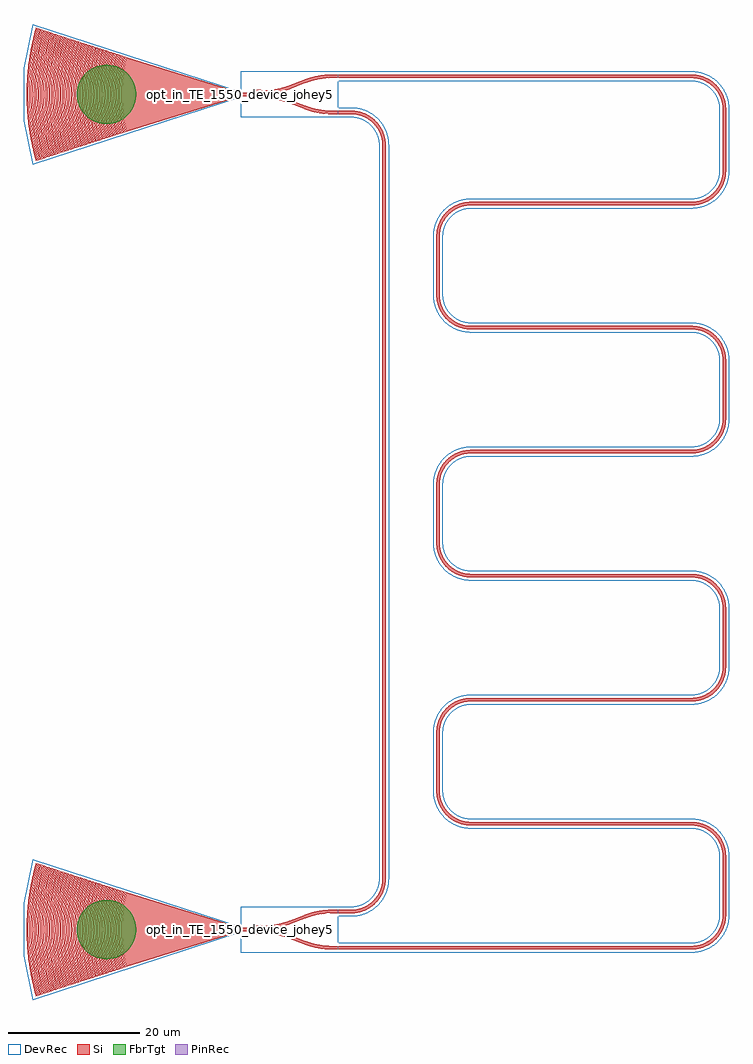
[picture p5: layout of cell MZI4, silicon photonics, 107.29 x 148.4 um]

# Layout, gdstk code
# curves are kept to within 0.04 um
import gdstk
lib = gdstk.Library(unit=1e-6, precision=1e-09)
def R(c, l, rs):  # rectangles x0, y0, x1, y1
    for r in rs: c.add(gdstk.rectangle(r[:2], r[2:], *l))
def P(c, l, *ps):  # polygons
    for p in ps: c.add(gdstk.Polygon(p, *l))
Si = (1, 0)
PinRec = (1, 10)
DevRec = (68, 0)
FbrTgt = (81, 0)

te1550_subgc_neg31_oxide = lib.new_cell('TE1550_SubGC_neg31_oxide')
P(te1550_subgc_neg31_oxide, Si, [(-17.556,-5.704),(-17.743,-4.914),(-17.881,-4.233),(-18.016,-3.437),(-18.095,-2.866),(-18.165,-2.237),(-18.222,-1.549),(-18.256,-0.918),(-18.274,-0.115),(-18.264,0.689),(-18.233,1.377),(-18.176,2.122),(-18.095,2.866),(-18.016,3.437),(-17.881,4.233),(-17.743,4.914),(-17.556,5.704),(-17.481,5.68),(-17.643,5.006),(-17.784,4.329),(-17.922,3.536),(-18.032,2.74),(-18.104,2.056),(-18.148,1.486),(-18.186,0.686),(-18.196,0.114),(-18.189,-0.572),(-18.165,-1.2),(-18.123,-1.828),(-18.058,-2.512),(-17.948,-3.365),(-17.826,-4.102),(-17.668,-4.893),(-17.481,-5.68)],
  [(-17.906,-5.818),(-18.207,-4.492),(-18.452,-2.982),(-18.601,-1.405),(-18.643,-0.117),(-18.601,1.405),(-18.452,2.982),(-18.207,4.492),(-17.906,5.818),(-17.659,5.738),(-17.932,4.544),(-18.188,2.998),(-18.338,1.443),(-18.383,0.116),(-18.338,-1.443),(-18.188,-2.998),(-17.932,-4.544),(-17.659,-5.738)],
  [(-18.084,-5.876),(-18.24,-5.237),(-18.4,-4.479),(-18.525,-3.776),(-18.629,-3.071),(-18.717,-2.305),(-18.772,-1.656),(-18.811,-0.946),(-18.83,-0.118),(-18.823,0.592),(-18.791,1.36),(-18.739,2.069),(-18.644,2.953),(-18.544,3.658),(-18.4,4.479),(-18.24,5.237),(-18.084,5.876),(-18.01,5.852),(-18.204,5.041),(-18.368,4.227),(-18.503,3.409),(-18.609,2.589),(-18.713,1.354),(-18.745,0.589),(-18.752,0.118),(-18.745,-0.589),(-18.713,-1.354),(-18.609,-2.589),(-18.503,-3.409),(-18.368,-4.227),(-18.204,-5.041),(-18.01,-5.852)],
  [(-18.435,-5.99),(-18.77,-4.506),(-19.001,-3.071),(-19.135,-1.748),(-19.199,-0.121),(-19.159,1.387),(-19.001,3.071),(-18.77,4.506),(-18.435,5.99),(-18.188,5.91),(-18.517,4.445),(-18.744,3.029),(-18.896,1.427),(-18.939,0.119),(-18.896,-1.427),(-18.759,-2.911),(-18.517,-4.445),(-18.188,-5.91)],
  [(-18.613,-6.048),(-18.815,-5.211),(-18.963,-4.49),(-19.099,-3.705),(-19.201,-2.979),(-19.269,-2.373),(-19.338,-1.522),(-19.369,-0.913),(-19.386,-0.122),(-19.377,0.67),(-19.349,1.339),(-19.286,2.191),(-19.201,2.979),(-19.099,3.705),(-18.963,4.49),(-18.815,5.211),(-18.613,6.048),(-18.539,6.024),(-18.713,5.309),(-18.876,4.532),(-19.013,3.751),(-19.131,2.907),(-19.203,2.242),(-19.264,1.455),(-19.291,0.91),(-19.308,0.121),(-19.299,-0.667),(-19.271,-1.334),(-19.239,-1.819),(-19.166,-2.605),(-19.076,-3.329),(-18.91,-4.352),(-18.753,-5.13),(-18.539,-6.024)],
  [(-18.964,-6.162),(-19.262,-4.881),(-19.533,-3.283),(-19.689,-1.799),(-19.755,-0.124),(-19.717,1.365),(-19.573,2.974),(-19.334,4.513),(-18.964,6.162),(-18.717,6.081),(-19.046,4.636),(-19.301,3.057),(-19.43,1.775),(-19.495,0.122),(-19.454,-1.408),(-19.301,-3.057),(-19.046,-4.636),(-18.717,-6.081)],
  [(-19.142,-6.22),(-19.337,-5.421),(-19.48,-4.742),(-19.625,-3.936),(-19.726,-3.251),(-19.808,-2.566),(-19.884,-1.691),(-19.924,-0.94),(-19.942,-0.125),(-19.934,0.626),(-19.9,1.44),(-19.833,2.316),(-19.758,3.002),(-19.635,3.874),(-19.516,4.556),(-19.337,5.421),(-19.142,6.22),(-19.068,6.195),(-19.289,5.277),(-19.44,4.538),(-19.587,3.673),(-19.696,2.866),(-19.772,2.12),(-19.822,1.435),(-19.853,0.749),(-19.864,0.125),(-19.853,-0.749),(-19.822,-1.435),(-19.772,-2.12),(-19.696,-2.866),(-19.587,-3.673),(-19.44,-4.538),(-19.289,-5.277),(-19.068,-6.195)],
  [(-19.493,-6.334),(-19.839,-4.829),(-20.107,-3.185),(-20.256,-1.658),(-20.311,-0.128),(-20.268,1.467),(-20.107,3.185),(-19.839,4.829),(-19.493,6.334),(-19.246,6.253),(-19.574,4.829),(-19.842,3.207),(-19.997,1.637),(-20.051,0.126),(-20.005,-1.511),(-19.866,-3.019),(-19.622,-4.581),(-19.246,-6.253)],
  [(-19.671,-6.391),(-19.843,-5.697),(-20.008,-4.937),(-20.149,-4.173),(-20.283,-3.278),(-20.379,-2.444),(-20.438,-1.738),(-20.482,-0.901),(-20.498,-0.129),(-20.482,0.901),(-20.438,1.738),(-20.379,2.444),(-20.283,3.278),(-20.149,4.173),(-20.008,4.937),(-19.843,5.697),(-19.671,6.391),(-19.597,6.367),(-19.797,5.55),(-20.005,4.538),(-20.153,3.648),(-20.246,2.946),(-20.325,2.179),(-20.373,1.539),(-20.404,0.898),(-20.42,0.128),(-20.412,-0.641),(-20.384,-1.347),(-20.336,-2.051),(-20.261,-2.819),(-20.153,-3.648),(-20.017,-4.474),(-19.825,-5.424),(-19.597,-6.367)],
  [(-20.022,-6.505),(-20.392,-4.896),(-20.656,-3.272),(-20.81,-1.704),(-20.867,-0.131),(-20.81,1.704),(-20.656,3.272),(-20.392,4.896),(-20.022,6.505),(-19.774,6.425),(-20.139,4.835),(-20.382,3.36),(-20.542,1.812),(-20.607,0.129),(-20.567,-1.424),(-20.399,-3.231),(-20.139,-4.835),(-19.774,-6.425)],
  [(-20.199,-6.563),(-20.437,-5.591),(-20.599,-4.809),(-20.726,-4.089),(-20.832,-3.367),(-20.931,-2.511),(-20.992,-1.785),(-21.04,-0.86),(-21.054,-0.132),(-21.044,0.728),(-21.001,1.653),(-20.931,2.511),(-20.849,3.235),(-20.726,4.089),(-20.599,4.809),(-20.437,5.591),(-20.199,6.563),(-20.125,6.539),(-20.347,5.635),(-20.523,4.791),(-20.67,3.943),(-20.804,2.961),(-20.878,2.239),(-20.923,1.647),(-20.962,0.857),(-20.976,0.132),(-20.966,-0.725),(-20.935,-1.449),(-20.878,-2.239),(-20.804,-2.961),(-20.67,-3.943),(-20.523,-4.791),(-20.347,-5.635),(-20.125,-6.539)],
  [(-20.55,-6.677),(-20.906,-5.158),(-21.205,-3.359),(-21.355,-1.883),(-21.423,-0.135),(-21.373,1.615),(-21.205,3.359),(-20.906,5.158),(-20.55,6.677),(-20.303,6.597),(-20.705,4.833),(-20.957,3.252),(-21.105,1.728),(-21.163,0.133),(-21.105,-1.728),(-20.957,-3.252),(-20.705,-4.833),(-20.303,-6.597)],
  [(-20.728,-6.735),(-20.912,-6.004),(-21.101,-5.136),(-21.249,-4.331),(-21.372,-3.523),(-21.483,-2.577),(-21.546,-1.832),(-21.593,-0.95),(-21.61,-0.136),(-21.593,0.95),(-21.555,1.696),(-21.483,2.577),(-21.39,3.388),(-21.249,4.331),(-21.101,5.136),(-20.912,6.004),(-20.728,6.735),(-20.654,6.711),(-20.868,5.85),(-21.025,5.118),(-21.195,4.181),(-21.33,3.241),(-21.412,2.5),(-21.473,1.758),(-21.515,0.947),(-21.532,0.135),(-21.525,-0.609),(-21.497,-1.352),(-21.448,-2.095),(-21.37,-2.904),(-21.237,-3.913),(-21.077,-4.85),(-20.868,-5.85),(-20.654,-6.711)],
  [(-21.079,-6.849),(-21.432,-5.359),(-21.736,-3.583),(-21.923,-1.725),(-21.979,-0.138),(-21.923,1.725),(-21.772,3.308),(-21.473,5.155),(-21.079,6.849),(-20.832,6.769),(-21.207,5.162),(-21.47,3.608),(-21.664,1.705),(-21.719,0.136),(-21.664,-1.705),(-21.515,-3.269),(-21.207,-5.162),(-20.832,-6.769)],
  [(-21.257,-6.907),(-21.494,-5.953),(-21.655,-5.199),(-21.817,-4.304),(-21.93,-3.544),(-22.042,-2.574),(-22.105,-1.81),(-22.146,-1.044),(-22.166,-0.139),(-22.159,0.627),(-22.114,1.67),(-22.042,2.574),(-21.957,3.336),(-21.817,4.304),(-21.655,5.199),(-21.494,5.953),(-21.257,6.907),(-21.183,6.883),(-21.419,5.932),(-21.606,5.044),(-21.773,4.083),(-21.888,3.256),(-21.971,2.495),(-22.036,1.665),(-22.073,0.902),(-22.088,0.139),(-22.081,-0.624),(-22.052,-1.387),(-22.001,-2.149),(-21.905,-3.117),(-21.773,-4.083),(-21.606,-5.044),(-21.419,-5.932),(-21.183,-6.883)],
  [(-21.608,-7.021),(-21.985,-5.425),(-22.294,-3.603),(-22.482,-1.698),(-22.535,-0.142),(-22.482,1.698),(-22.294,3.603),(-21.985,5.425),(-21.608,7.021),(-21.361,6.941),(-21.761,5.224),(-22.028,3.631),(-22.218,1.749),(-22.275,0.14),(-22.227,-1.609),(-22.073,-3.283),(-21.788,-5.086),(-21.361,-6.941)],
  [(-21.786,-7.079),(-21.964,-6.381),(-22.167,-5.469),(-22.302,-4.765),(-22.469,-3.704),(-22.565,-2.923),(-22.649,-1.997),(-22.704,-0.999),(-22.722,-0.143),(-22.713,0.714),(-22.677,1.57),(-22.601,2.567),(-22.488,3.562),(-22.374,4.341),(-22.195,5.329),(-22.03,6.101),(-21.786,7.079),(-21.712,7.055),(-21.922,6.22),(-22.161,5.1),(-22.308,4.256),(-22.447,3.267),(-22.53,2.487),(-22.586,1.778),(-22.626,0.996),(-22.644,0.142),(-22.635,-0.711),(-22.595,-1.635),(-22.53,-2.487),(-22.447,-3.267),(-22.308,-4.256),(-22.161,-5.1),(-21.922,-6.22),(-21.712,-7.055)],
  [(-22.137,-7.193),(-22.54,-5.486),(-22.843,-3.692),(-23.011,-2.102),(-23.091,-0.145),(-23.045,1.595),(-22.862,3.547),(-22.54,5.486),(-22.137,7.193),(-21.89,7.112),(-22.287,5.425),(-22.596,3.579),(-22.777,1.721),(-22.831,0.143),(-22.777,-1.721),(-22.596,-3.579),(-22.287,-5.425),(-21.89,-7.112)],
  [(-22.315,-7.25),(-22.549,-6.321),(-22.736,-5.458),(-22.895,-4.592),(-23.047,-3.576),(-23.139,-2.776),(-23.218,-1.827),(-23.262,-0.951),(-23.278,-0.146),(-23.262,0.951),(-23.218,1.827),(-23.139,2.776),(-23.047,3.576),(-22.895,4.592),(-22.736,5.458),(-22.549,6.321),(-22.315,7.25),(-22.24,7.226),(-22.457,6.372),(-22.646,5.512),(-22.843,4.432),(-22.979,3.492),(-23.076,2.621),(-23.145,1.748),(-23.184,0.947),(-23.2,0.146),(-23.194,-0.583),(-23.158,-1.53),(-23.102,-2.33),(-23.006,-3.274),(-22.899,-4.071),(-22.73,-5.081),(-22.507,-6.157),(-22.24,-7.226)],
  [(-22.666,-7.364),(-23.095,-5.545),(-23.392,-3.78),(-23.581,-1.93),(-23.647,-0.149),(-23.586,1.856),(-23.421,3.559),(-23.095,5.545),(-22.666,7.364),(-22.418,7.284),(-22.842,5.484),(-23.145,3.666),(-23.311,2.056),(-23.387,0.147),(-23.336,-1.689),(-23.145,-3.666),(-22.842,-5.484),(-22.418,-7.284)],
  [(-22.843,-7.422),(-23.067,-6.545),(-23.262,-5.662),(-23.441,-4.701),(-23.556,-3.959),(-23.691,-2.842),(-23.762,-2.02),(-23.815,-1.048),(-23.834,-0.15),(-23.82,0.898),(-23.782,1.721),(-23.713,2.618),(-23.606,3.587),(-23.441,4.701),(-23.277,5.588),(-23.067,6.545),(-22.843,7.422),(-22.769,7.398),(-22.992,6.523),(-23.201,5.57),(-23.389,4.538),(-23.538,3.501),(-23.642,2.535),(-23.704,1.716),(-23.742,0.895),(-23.756,0.149),(-23.742,-0.895),(-23.704,-1.716),(-23.642,-2.535),(-23.565,-3.278),(-23.401,-4.464),(-23.23,-5.423),(-22.992,-6.523),(-22.769,-7.398)],
  [(-23.194,-7.536),(-23.605,-5.824),(-23.951,-3.793),(-24.135,-1.976),(-24.203,-0.152),(-24.15,1.748),(-23.961,3.718),(-23.605,5.824),(-23.194,7.536),(-22.947,7.456),(-23.368,5.688),(-23.684,3.827),(-23.876,1.955),(-23.943,0.15),(-23.886,-1.804),(-23.704,-3.678),(-23.383,-5.614),(-22.947,-7.456)],
  [(-23.372,-7.594),(-23.602,-6.696),(-23.802,-5.793),(-23.96,-4.962),(-24.115,-3.975),(-24.219,-3.137),(-24.316,-2.067),(-24.373,-0.996),(-24.39,-0.153),(-24.373,0.996),(-24.316,2.067),(-24.219,3.137),(-24.115,3.975),(-23.96,4.962),(-23.802,5.793),(-23.602,6.696),(-23.372,7.594),(-23.298,7.57),(-23.562,6.525),(-23.801,5.399),(-23.971,4.417),(-24.088,3.583),(-24.188,2.67),(-24.249,1.908),(-24.295,0.993),(-24.312,0.153),(-24.3,-0.84),(-24.263,-1.68),(-24.195,-2.594),(-24.088,-3.583),(-23.971,-4.417),(-23.801,-5.399),(-23.562,-6.525),(-23.298,-7.57)],
  [(-23.723,-7.708),(-24.145,-5.957),(-24.479,-4.035),(-24.678,-2.176),(-24.759,-0.156),(-24.709,1.71),(-24.5,3.88),(-24.145,5.957),(-23.723,7.708),(-23.476,7.628),(-23.908,5.819),(-24.233,3.916),(-24.43,2),(-24.499,0.154),(-24.43,-2),(-24.233,-3.916),(-23.908,-5.819),(-23.476,-7.628)],
  [(-23.901,-7.766),(-24.137,-6.848),(-24.358,-5.848),(-24.518,-4.997),(-24.674,-3.987),(-24.779,-3.13),(-24.87,-2.115),(-24.916,-1.332),(-24.946,-0.157),(-24.931,0.94),(-24.891,1.802),(-24.803,2.896),(-24.695,3.832),(-24.531,4.92),(-24.358,5.848),(-24.137,6.848),(-23.901,7.766),(-23.827,7.742),(-24.098,6.674),(-24.313,5.676),(-24.493,4.672),(-24.638,3.665),(-24.733,2.809),(-24.803,1.952),(-24.848,1.094),(-24.868,0.156),(-24.858,-0.781),(-24.818,-1.718),(-24.733,-2.809),(-24.638,-3.665),(-24.493,-4.672),(-24.313,-5.676),(-24.098,-6.674),(-23.827,-7.742)],
  [(-24.252,-7.88),(-24.717,-5.934),(-25.049,-3.967),(-25.232,-2.225),(-25.315,-0.159),(-25.259,1.828),(-25.07,3.809),(-24.717,5.934),(-24.252,7.88),(-24.005,7.8),(-24.464,5.873),(-24.782,4.005),(-24.973,2.202),(-25.055,0.157),(-25.009,-1.652),(-24.803,-3.848),(-24.464,-5.873),(-24.005,-7.8)],
  [(-24.43,-7.938),(-24.709,-6.843),(-24.866,-6.135),(-25.049,-5.187),(-25.234,-3.997),(-25.339,-3.12),(-25.424,-2.162),(-25.478,-1.202),(-25.502,-0.16),(-25.489,0.881),(-25.435,2.002),(-25.339,3.12),(-25.234,3.997),(-25.049,5.187),(-24.866,6.135),(-24.709,6.843),(-24.43,7.938),(-24.356,7.914),(-24.634,6.822),(-24.839,5.881),(-25,5.014),(-25.178,3.826),(-25.278,2.952),(-25.352,2.075),(-25.397,1.278),(-25.424,0.16),(-25.409,-0.958),(-25.377,-1.677),(-25.293,-2.792),(-25.198,-3.667),(-25.052,-4.697),(-24.839,-5.881),(-24.634,-6.822),(-24.356,-7.914)],
  [(-24.781,-8.052),(-25.241,-6.144),(-25.576,-4.216),(-25.803,-2.031),(-25.871,-0.163),(-25.803,2.031),(-25.609,3.974),(-25.274,5.984),(-24.781,8.052),(-24.533,7.971),(-24.972,6.161),(-25.308,4.253),(-25.544,2.01),(-25.611,0.161),(-25.544,-2.01),(-25.352,-3.934),(-25.021,-5.924),(-24.533,-7.971)],
  [(-24.959,-8.11),(-25.187,-7.232),(-25.423,-6.188),(-25.635,-5.057),(-25.772,-4.165),(-25.891,-3.188),(-25.984,-2.127),(-26.03,-1.31),(-26.058,-0.164),(-26.045,0.9),(-25.995,1.964),(-25.891,3.188),(-25.794,4.002),(-25.635,5.057),(-25.423,6.188),(-25.187,7.232),(-24.959,8.11),(-24.884,8.085),(-25.15,7.051),(-25.38,6.009),(-25.572,4.961),(-25.738,3.828),(-25.846,2.853),(-25.917,1.958),(-25.967,0.898),(-25.98,0.163),(-25.967,-0.898),(-25.932,-1.713),(-25.868,-2.609),(-25.768,-3.585),(-25.624,-4.638),(-25.412,-5.848),(-25.207,-6.811),(-24.884,-8.085)],
  [(-25.31,-8.224),(-25.815,-6.112),(-26.136,-4.224),(-26.357,-2.074),(-26.427,-0.166),(-26.368,1.909),(-26.18,3.894),(-25.815,6.112),(-25.31,8.224),(-25.062,8.143),(-25.512,6.295),(-25.868,4.264),(-26.098,2.054),(-26.167,0.164),(-26.123,-1.644),(-25.923,-3.856),(-25.562,-6.052),(-25.062,-8.143)],
  [(-25.487,-8.281),(-25.761,-7.222),(-25.946,-6.402),(-26.152,-5.33),(-26.321,-4.254),(-26.451,-3.173),(-26.532,-2.256),(-26.589,-1.254),(-26.614,-0.167),(-26.598,1.003),(-26.538,2.172),(-26.451,3.173),(-26.321,4.254),(-26.152,5.33),(-25.946,6.402),(-25.761,7.222),(-25.487,8.281),(-25.413,8.257),(-25.686,7.201),(-25.921,6.137),(-26.118,5.067),(-26.288,3.91),(-26.374,3.164),(-26.466,2.083),(-26.511,1.25),(-26.536,0.167),(-26.525,-0.834),(-26.482,-1.833),(-26.406,-2.831),(-26.288,-3.91),(-26.118,-5.067),(-25.921,-6.137),(-25.686,-7.201),(-25.413,-8.257)],
  [(-25.838,-8.395),(-26.339,-6.323),(-26.685,-4.312),(-26.887,-2.456),(-26.983,-0.17),(-26.917,2.033),(-26.708,4.144),(-26.356,6.24),(-25.838,8.395),(-25.591,8.315),(-26.086,6.263),(-26.44,4.188),(-26.658,2.014),(-26.723,0.168),(-26.658,-2.014),(-26.44,-4.188),(-26.086,-6.263),(-25.591,-8.315)],
  [(-26.016,-8.453),(-26.256,-7.539),(-26.503,-6.451),(-26.697,-5.441),(-26.858,-4.427),(-26.976,-3.494),(-27.086,-2.303),(-27.144,-1.28),(-27.17,-0.085),(-27.156,0.939),(-27.098,2.133),(-27.012,3.154),(-26.893,4.173),(-26.726,5.272),(-26.538,6.283),(-26.256,7.539),(-26.016,8.453),(-25.942,8.429),(-26.261,7.184),(-26.479,6.181),(-26.664,5.173),(-26.838,3.992),(-26.943,3.06),(-27.026,2.042),(-27.078,0.936),(-27.092,0.085),(-27.078,-0.936),(-27.026,-2.042),(-26.943,-3.06),(-26.838,-3.992),(-26.664,-5.173),(-26.479,-6.181),(-26.261,-7.184),(-25.942,-8.429)],
  [(-26.367,-8.567),(-26.897,-6.368),(-27.246,-4.315),(-27.466,-2.162),(-27.539,-0.087),(-27.466,2.162),(-27.246,4.315),(-26.897,6.368),(-26.367,8.567),(-26.12,8.487),(-26.644,6.308),(-26.989,4.275),(-27.218,1.97),(-27.279,0.086),(-27.218,-1.97),(-26.989,-4.275),(-26.644,-6.308),(-26.12,-8.487)],
  [(-26.545,-8.625),(-26.832,-7.522),(-27.079,-6.411),(-27.286,-5.294),(-27.442,-4.258),(-27.573,-3.132),(-27.658,-2.089),(-27.712,-0.958),(-27.726,-0.087),(-27.712,0.958),(-27.658,2.089),(-27.573,3.132),(-27.442,4.258),(-27.286,5.294),(-27.079,6.411),(-26.832,7.522),(-26.545,8.625),(-26.471,8.601),(-26.777,7.416),(-27.003,6.393),(-27.195,5.365),(-27.365,4.246),(-27.487,3.209),(-27.586,1.997),(-27.634,0.955),(-27.648,0.087),(-27.634,-0.955),(-27.586,-1.997),(-27.52,-2.863),(-27.42,-3.815),(-27.265,-4.935),(-27.071,-6.051),(-26.817,-7.246),(-26.63,-8.01),(-26.471,-8.601)],
  [(-26.896,-8.739),(-27.402,-6.67),(-27.783,-4.49),(-28.014,-2.293),(-28.095,-0.088),(-28.026,2.117),(-27.807,4.315),(-27.438,6.496),(-26.896,8.739),(-26.649,8.659),(-27.185,6.436),(-27.55,4.275),(-27.761,2.185),(-27.835,0.087),(-27.761,-2.185),(-27.55,-4.275),(-27.185,-6.436),(-26.649,-8.659)],
  [(-27.074,-8.797),(-27.346,-7.759),(-27.602,-6.627),(-27.802,-5.576),(-27.955,-4.608),(-28.098,-3.46),(-28.194,-2.397),(-28.255,-1.332),(-28.282,-0.089),(-28.265,1.066),(-28.218,2.042),(-28.134,3.106),(-28.015,4.167),(-27.832,5.4),(-27.62,6.539),(-27.346,7.759),(-27.074,8.797),(-27,8.773),(-27.292,7.651),(-27.544,6.521),(-27.77,5.297),(-27.949,4.067),(-28.048,3.186),(-28.129,2.214),(-28.184,1.152),(-28.204,0.089),(-28.187,-1.063),(-28.146,-1.948),(-28.073,-2.921),(-27.949,-4.067),(-27.77,-5.297),(-27.544,-6.521),(-27.292,-7.651),(-27,-8.773)],
  [(-27.425,-8.911),(-27.979,-6.624),(-28.344,-4.489),(-28.568,-2.339),(-28.651,-0.09),(-28.568,2.339),(-28.344,4.489),(-27.979,6.624),(-27.425,8.911),(-27.177,8.83),(-27.708,6.652),(-28.075,4.537),(-28.309,2.317),(-28.391,0.089),(-28.309,-2.317),(-28.075,-4.537),(-27.708,-6.652),(-27.177,-8.83)],
  [(-27.603,-8.969),(-27.881,-7.91),(-28.124,-6.845),(-28.347,-5.685),(-28.529,-4.518),(-28.678,-3.257),(-28.761,-2.264),(-28.814,-1.268),(-28.838,-0.091),(-28.826,0.906),(-28.761,2.264),(-28.678,3.257),(-28.529,4.518),(-28.347,5.685),(-28.124,6.845),(-27.881,7.91),(-27.603,8.969),(-27.528,8.944),(-27.806,7.889),(-28.085,6.649),(-28.316,5.402),(-28.476,4.327),(-28.582,3.428),(-28.677,2.348),(-28.736,1.265),(-28.76,0.09),(-28.748,-0.903),(-28.695,-2.077),(-28.609,-3.158),(-28.499,-4.147),(-28.331,-5.312),(-28.121,-6.472),(-27.87,-7.624),(-27.528,-8.944)],
  [(-27.953,-9.083),(-28.52,-6.752),(-28.893,-4.576),(-29.135,-2.201),(-29.207,-0.092),(-29.135,2.201),(-28.918,4.394),(-28.52,6.752),(-27.953,9.083),(-27.706,9.002),(-28.23,6.871),(-28.624,4.626),(-28.863,2.363),(-28.947,0.091),(-28.887,-2),(-28.649,-4.445),(-28.23,-6.871),(-27.706,-9.002)],
  [(-28.131,-9.14),(-28.416,-8.062),(-28.645,-7.068),(-28.86,-5.977),(-29.078,-4.605),(-29.221,-3.412),(-29.315,-2.307),(-29.373,-1.2),(-29.394,-0.092),(-29.373,1.2),(-29.315,2.307),(-29.221,3.412),(-29.078,4.605),(-28.86,5.977),(-28.645,7.068),(-28.416,8.062),(-28.131,9.14),(-28.057,9.116),(-28.363,7.951),(-28.663,6.596),(-28.892,5.323),(-29.061,4.136),(-29.179,3.036),(-29.255,2.025),(-29.301,1.013),(-29.316,0.092),(-29.301,-1.013),(-29.255,-2.025),(-29.179,-3.036),(-29.061,-4.136),(-28.892,-5.323),(-28.663,-6.596),(-28.363,-7.951),(-28.057,-9.116)],
  [(-28.482,-9.254),(-29.003,-7.156),(-29.416,-4.849),(-29.683,-2.336),(-29.763,-0.094),(-29.683,2.336),(-29.455,4.57),(-29.042,6.972),(-28.482,9.254),(-28.235,9.174),(-28.77,7.003),(-29.173,4.714),(-29.424,2.316),(-29.503,0.093),(-29.424,-2.316),(-29.173,-4.714),(-28.77,-7.003),(-28.235,-9.174)],
  [(-28.66,-9.312),(-28.928,-8.306),(-29.224,-7.016),(-29.421,-5.996),(-29.601,-4.879),(-29.733,-3.851),(-29.863,-2.445),(-29.925,-1.317),(-29.95,-0.094),(-29.937,0.941),(-29.882,2.163),(-29.792,3.289),(-29.64,4.599),(-29.437,5.904),(-29.224,7.016),(-28.928,8.306),(-28.66,9.312),(-28.586,9.288),(-28.898,8.101),(-29.148,6.998),(-29.393,5.703),(-29.563,4.587),(-29.696,3.467),(-29.798,2.251),(-29.847,1.314),(-29.872,0.094),(-29.862,-0.845),(-29.798,-2.251),(-29.696,-3.467),(-29.563,-4.587),(-29.393,-5.703),(-29.148,-6.998),(-28.898,-8.101),(-28.586,-9.288)],
  [(-29.011,-9.426),(-29.563,-7.196),(-29.965,-4.939),(-30.237,-2.38),(-30.319,-0.095),(-30.25,2.19),(-30.017,4.561),(-29.602,7.008),(-29.011,9.426),(-28.764,9.346),(-29.33,7.041),(-29.735,4.709),(-29.978,2.359),(-30.059,0.094),(-29.978,-2.359),(-29.735,-4.709),(-29.33,-7.041),(-28.764,-9.346)],
  [(-29.189,-9.484),(-29.554,-8.085),(-29.784,-7.052),(-29.999,-5.918),(-30.163,-4.874),(-30.295,-3.827),(-30.417,-2.49),(-30.484,-1.246),(-30.506,-0.096),(-30.484,1.246),(-30.417,2.49),(-30.295,3.827),(-30.163,4.874),(-29.999,5.918),(-29.784,7.052),(-29.554,8.085),(-29.189,9.484),(-29.115,9.46),(-29.456,8.158),(-29.708,7.034),(-29.97,5.62),(-30.125,4.577),(-30.248,3.532),(-30.346,2.388),(-30.406,1.242),(-30.428,0.096),(-30.406,-1.242),(-30.346,-2.388),(-30.248,-3.532),(-30.125,-4.577),(-29.97,-5.62),(-29.708,-7.034),(-29.456,-8.158),(-29.115,-9.46)],
  [(-29.54,-9.598),(-30.143,-7.137),(-30.554,-4.741),(-30.798,-2.327),(-30.875,-0.097),(-30.798,2.327),(-30.554,4.741),(-30.143,7.137),(-29.54,9.598),(-29.293,9.518),(-29.89,7.077),(-30.284,4.796),(-30.539,2.307),(-30.615,0.096),(-30.539,-2.307),(-30.284,-4.796),(-29.89,-7.077),(-29.293,-9.518)],
  [(-29.718,-9.656),(-29.997,-8.613),(-30.285,-7.371),(-30.493,-6.315),(-30.712,-4.963),(-30.857,-3.8),(-30.964,-2.633),(-31.036,-1.366),(-31.062,-0.098),(-31.046,1.073),(-30.991,2.243),(-30.897,3.411),(-30.752,4.673),(-30.561,5.929),(-30.345,7.084),(-30.044,8.422),(-29.718,9.656),(-29.643,9.632),(-29.969,8.401),(-30.269,7.066),(-30.501,5.818),(-30.7,4.468),(-30.829,3.306),(-30.907,2.335),(-30.965,1.168),(-30.984,0.097),(-30.965,-1.168),(-30.907,-2.335),(-30.829,-3.306),(-30.7,-4.468),(-30.501,-5.818),(-30.269,-7.066),(-29.969,-8.401),(-29.643,-9.632)],
  [(-30.069,-9.77),(-30.664,-7.362),(-31.09,-4.924),(-31.346,-2.467),(-31.431,-0.099),(-31.346,2.467),(-31.09,4.924),(-30.664,7.362),(-30.069,9.77),(-29.821,9.69),(-30.411,7.301),(-30.833,4.883),(-31.093,2.349),(-31.171,0.098),(-31.093,-2.349),(-30.833,-4.883),(-30.411,-7.301),(-29.821,-9.69)],
  [(-30.246,-9.828),(-30.603,-8.475),(-30.866,-7.308),(-31.107,-6.035),(-31.288,-4.855),(-31.43,-3.67),(-31.539,-2.382),(-31.595,-1.291),(-31.618,-0.099),(-31.595,1.291),(-31.539,2.382),(-31.43,3.67),(-31.288,4.855),(-31.107,6.035),(-30.866,7.308),(-30.603,8.475),(-30.246,9.828),(-30.172,9.804),(-30.528,8.455),(-30.77,7.387),(-30.907,6.705),(-31.047,5.922),(-31.211,4.843),(-31.342,3.759),(-31.461,2.377),(-31.517,1.288),(-31.54,0.099),(-31.529,-0.892),(-31.474,-2.179),(-31.391,-3.266),(-31.25,-4.548),(-31.047,-5.922),(-30.83,-7.095),(-30.528,-8.455),(-30.172,-9.804)],
  [(-30.597,-9.942),(-31.225,-7.393),(-31.625,-5.111),(-31.893,-2.611),(-31.987,-0.1),(-31.907,2.41),(-31.653,4.911),(-31.225,7.393),(-30.597,9.942),(-30.35,9.861),(-30.931,7.529),(-31.396,4.872),(-31.641,2.49),(-31.727,0.1),(-31.641,-2.49),(-31.396,-4.872),(-30.931,-7.529),(-30.35,-9.861)],
  [(-30.775,-9.999),(-31.09,-8.821),(-31.344,-7.734),(-31.564,-6.64),(-31.795,-5.241),(-31.95,-4.036),(-32.072,-2.727),(-32.129,-1.819),(-32.154,-1.213),(-32.174,-0.101),(-32.154,1.213),(-32.1,2.323),(-32.012,3.432),(-31.851,4.84),(-31.686,5.941),(-31.428,7.337),(-31.139,8.624),(-30.775,9.999),(-30.701,9.975),(-31.015,8.8),(-31.18,8.11),(-31.352,7.319),(-31.593,6.027),(-31.774,4.828),(-31.915,3.625),(-32.009,2.519),(-32.069,1.411),(-32.096,0.101),(-32.076,-1.21),(-32.009,-2.519),(-31.915,-3.625),(-31.774,-4.828),(-31.593,-6.027),(-31.352,-7.319),(-31.18,-8.11),(-31.015,-8.8),(-30.701,-9.975)],
  [(-31.126,-10.114),(-31.724,-7.722),(-32.174,-5.199),(-32.447,-2.656),(-32.543,-0.102),(-32.519,1.329),(-32.447,2.656),(-32.174,5.199),(-31.724,7.722),(-31.126,10.114),(-30.879,10.033),(-31.471,7.66),(-31.917,5.158),(-32.188,2.635),(-32.283,0.101),(-32.202,-2.433),(-31.959,-4.856),(-31.534,-7.361),(-31.244,-8.653),(-30.879,-10.033)],
  [(-17.378,-5.646),(-17.678,-4.303),(-17.903,-2.893),(-18.043,-1.42),(-18.087,-0.114),(-18.05,1.306),(-17.924,2.724),(-17.678,4.303),(-17.378,5.646),(0,0.25),(0,-0.25)])
te1550_subgc_neg31_oxide.add(gdstk.Label('Ref: Yun Wang, Optics Express, 08/2014', (-33,0), layer=10, texttype=0))
te1550_subgc_neg31_oxide.add(gdstk.Label('http://dx.doi.org/10.1364/OE.22.020652', (-33,-2), layer=10, texttype=0))
te1550_subgc_neg31_oxide.add(gdstk.Label('TE 1550 -31 deg', (-33,2), layer=10, texttype=0))

ebeam_gc_te1550 = lib.new_cell('ebeam_gc_te1550')
R(ebeam_gc_te1550, Si, [(-0.001,-0.001,0.001,0.001)])
P(ebeam_gc_te1550, DevRec, [(-31.6,-10.7),(-33,-4),(-33,4),(-31.6,10.7),(0,0.4),(0,-0.4)])
P(ebeam_gc_te1550, FbrTgt, [(-20.621,-4.5),(-21.495,-4.37),(-22.326,-4.073),(-23.084,-3.619),(-23.738,-3.026),(-24.264,-2.316),(-24.642,-1.518),(-24.857,-0.661),(-24.9,0.221),(-24.77,1.095),(-24.473,1.926),(-24.019,2.684),(-23.426,3.338),(-22.716,3.864),(-21.918,4.242),(-21.061,4.457),(-20.179,4.5),(-19.305,4.37),(-18.474,4.073),(-17.716,3.619),(-17.062,3.026),(-16.536,2.316),(-16.158,1.518),(-15.943,0.661),(-15.9,-0.221),(-16.03,-1.095),(-16.327,-1.926),(-16.781,-2.684),(-17.374,-3.338),(-18.084,-3.864),(-18.882,-4.242),(-19.739,-4.457)])
ebeam_gc_te1550.add(gdstk.FlexPath([(-0.05,0),(0.05,0)], 0.5, ends="flush", simple_path=True, layer=1, datatype=10))  # PinRec
ebeam_gc_te1550.add(gdstk.Reference(te1550_subgc_neg31_oxide, (0,0)))
ebeam_gc_te1550.add(gdstk.Label('opt1', (0,0), layer=1, texttype=10))
ebeam_gc_te1550.add(gdstk.Label('Component=ebeam_gc_te1550', (-28,-5), layer=68, texttype=0))
ebeam_gc_te1550.add(gdstk.Label('Lumerical_INTERCONNECT_library=Design kits/ebeam', (-29,-7), layer=68, texttype=0))
ebeam_gc_te1550.add(gdstk.Label('fib1', (-20.4,0), layer=1, texttype=10))

ebeam_y_1550 = lib.new_cell('ebeam_y_1550')
R(ebeam_y_1550, Si, [(6.5,-3,7.4,-2.5), (-7.4,-0.25,-6,0.25), (6.5,2.5,7.4,3)])
P(ebeam_y_1550, Si, [(6.458,-3),(6.237,-2.997),(6.237,-2.497),(6.5,-2.5),(6.5,-3)],
  [(5.033,-2.908),(3.59,-2.634),(2.265,-2.21),(2.445,-1.744),(3.731,-2.154),(5.033,-2.404)],
  [(6.233,-2.997),(5.033,-2.908),(5.033,-2.404),(6.237,-2.497)],
  [(2.265,-2.21),(0.055,-1.356),(0.235,-0.89),(2.445,-1.744)],
  [(-0.762,-1.076),(-2.334,-0.724),(-4,-0.6),(-4,-0.1),(-2.381,-0.212),(-0.762,-0.555)],
  [(0.055,-1.356),(-0.762,-1.076),(-0.762,-0.555),(0.235,-0.89)],
  [(6.237,2.497),(6.237,2.997),(6.5,3),(6.5,2.5)],
  [(2.445,1.744),(2.267,2.211),(3.59,2.634),(5.033,2.908),(5.033,2.404),(3.731,2.154)],
  [(5.033,2.404),(5.033,2.908),(6.237,2.997),(6.237,2.497)],
  [(0.235,0.89),(0.055,1.356),(2.265,2.21),(2.445,1.744)],
  [(-4,0.1),(-4,0.6),(-2.334,0.724),(-0.762,1.076),(-0.762,0.555),(-2.381,0.212)],
  [(-0.762,0.555),(-0.762,1.076),(0.055,1.356),(0.235,0.89)],
  [(-5.122,-0.662),(-5.442,-0.374),(-5.808,-0.255),(-6,-0.25),(-6,0.25),(-5.817,0.253),(-5.442,0.374),(-5.122,0.662)],
  [(-4.957,-0.703),(-5.122,-0.662),(-5.122,0.662),(-4.538,0.703),(-4,0.6),(-4,-0.6),(-4.509,-0.701)])
R(ebeam_y_1550, DevRec, [(-7.4,-3.5,7.4,3.5)])
ebeam_y_1550.add(gdstk.FlexPath([(-7.35,0),(-7.45,0)], 0.5, ends="flush", simple_path=True, layer=1, datatype=10))  # PinRec
ebeam_y_1550.add(gdstk.FlexPath([(7.35,2.75),(7.45,2.75)], 0.5, ends="flush", simple_path=True, layer=1, datatype=10))  # PinRec
ebeam_y_1550.add(gdstk.FlexPath([(7.35,-2.75),(7.45,-2.75)], 0.5, ends="flush", simple_path=True, layer=1, datatype=10))  # PinRec
ebeam_y_1550.add(gdstk.Label('Ref: Y Zhang, Opt. Express, 21/1, 2013', (-7.5,-1), layer=10, texttype=0))
ebeam_y_1550.add(gdstk.Label('opt2', (7.4,2.75), layer=1, texttype=10))
ebeam_y_1550.add(gdstk.Label('opt3', (7.4,-2.75), layer=1, texttype=10))
ebeam_y_1550.add(gdstk.Label('opt1', (-7.4,0), layer=1, texttype=10))
ebeam_y_1550.add(gdstk.Label('Component=ebeam_y_1550', (-6,1.5), layer=68, texttype=0))
ebeam_y_1550.add(gdstk.Label('Lumerical_INTERCONNECT_library=Design kits/ebeam', (-6.86,-2.19), layer=68, texttype=0))

mzi4_short_arm = lib.new_cell('MZI4_short_arm')
P(mzi4_short_arm, Si, [(14.8,2.5),(16.981,2.503),(17.791,2.594),(18.83,2.908),(19.856,3.481),(20.73,4.269),(21.449,5.31),(21.875,6.406),(22.049,7.659),(22.043,119.522),(21.897,120.506),(21.569,121.446),(21.069,122.306),(20.415,123.057),(19.707,123.622),(18.83,124.092),(17.88,124.388),(16.891,124.499),(14.8,124.5),(14.8,124),(16.882,123.999),(17.535,123.943),(18.561,123.662),(19.43,123.205),(20.301,122.461),(20.927,121.601),(21.347,120.624),(21.544,119.496),(21.549,7.668),(21.412,6.613),(21.043,5.615),(20.462,4.725),(19.632,3.936),(18.637,3.369),(17.697,3.085),(16.964,3.003),(14.8,3)])
P(mzi4_short_arm, DevRec, [(14.8,2),(16.998,2.003),(17.983,2.123),(19.115,2.486),(20.228,3.133),(20.759,3.58),(21.233,4.088),(21.937,5.166),(22.383,6.374),(22.549,7.651),(22.547,119.448),(22.406,120.53),(22.064,121.565),(21.532,122.516),(20.831,123.351),(19.984,124.038),(19.023,124.553),(17.983,124.877),(16.899,124.999),(14.8,125),(14.8,123.5),(17.458,123.449),(18.307,123.224),(19.154,122.789),(19.932,122.123),(20.529,121.29),(20.889,120.409),(21.047,119.397),(21.049,7.677),(20.943,6.804),(20.66,5.972),(20.212,5.216),(19.673,4.618),(18.84,4.021),(18.307,3.776),(17.746,3.607),(16.947,3.503),(14.8,3.5)])
mzi4_short_arm.add(gdstk.FlexPath([(14.85,2.75),(14.75,2.75)], 0.5, ends="flush", simple_path=True, layer=1, datatype=10))  # PinRec
mzi4_short_arm.add(gdstk.FlexPath([(14.85,124.25),(14.75,124.25)], 0.5, ends="flush", simple_path=True, layer=1, datatype=10))  # PinRec
mzi4_short_arm.add(gdstk.Label('pin1', (14.8,2.75), layer=1, texttype=10))
mzi4_short_arm.add(gdstk.Label('pin2', (14.8,124.25), layer=1, texttype=10))

mzi4_long_arm = lib.new_cell('MZI4_long_arm')
P(mzi4_long_arm, Si, [(14.8,-3),(68.816,-2.993),(69.535,-2.906),(70.321,-2.69),(70.984,-2.399),(71.601,-2.019),(72.159,-1.557),(72.649,-1.023),(73.06,-0.427),(73.386,0.22),(73.663,1.082),(73.791,2.069),(73.794,11.108),(73.731,11.919),(73.386,13.137),(72.759,14.237),(71.888,15.155),(70.822,15.837),(69.801,16.205),(68.635,16.356),(35.001,16.357),(34.346,16.402),(33.47,16.61),(32.793,16.901),(32.168,17.293),(31.499,17.896),(30.956,18.615),(30.588,19.346),(30.335,20.211),(30.251,21.025),(30.25,29.963),(30.369,31.021),(30.757,32.099),(31.391,33.052),(32.168,33.778),(33.239,34.376),(34.023,34.613),(34.918,34.714),(69.087,34.742),(69.801,34.867),(70.49,35.088),(71.143,35.403),(71.746,35.804),(72.224,36.22),(72.705,36.762),(73.106,37.365),(73.453,38.103),(73.7,38.973),(73.791,39.783),(73.794,48.823),(73.716,49.723),(73.35,50.935),(72.705,52.023),(71.818,52.926),(70.822,53.552),(69.801,53.919),(68.635,54.071),(34.427,54.106),(33.626,54.274),(32.865,54.578),(32.103,55.057),(31.499,55.611),(31,56.26),(30.619,56.985),(30.369,57.764),(30.253,58.657),(30.25,67.677),(30.369,68.736),(30.72,69.74),(31.391,70.767),(32.235,71.541),(33.316,72.12),(34.184,72.358),(35.001,72.429),(68.906,72.441),(70.149,72.68),(71.299,73.209),(72.288,73.998),(72.705,74.477),(73.106,75.08),(73.57,76.16),(73.787,77.407),(73.794,86.537),(73.744,87.258),(73.42,88.482),(72.813,89.592),(71.957,90.525),(70.903,91.226),(69.801,91.633),(68.635,91.785),(34.427,91.82),(33.626,91.989),(32.865,92.292),(32.103,92.771),(31.499,93.325),(31,93.974),(30.619,94.699),(30.369,95.479),(30.256,96.29),(30.25,105.392),(30.369,106.45),(30.794,107.6),(31.499,108.604),(32.37,109.348),(33.393,109.863),(34.184,110.072),(35.001,110.143),(68.725,110.146),(69.535,110.237),(70.406,110.484),(71.143,110.831),(71.888,111.345),(72.592,112.049),(73.106,112.794),(73.514,113.702),(73.744,114.67),(73.794,115.392),(73.782,125.112),(73.682,125.83),(73.484,126.527),(73.193,127.19),(72.813,127.806),(72.351,128.365),(71.818,128.855),(71.221,129.266),(70.574,129.592),(69.535,129.906),(68.545,130),(14.8,130),(14.8,129.5),(68.79,129.494),(69.996,129.273),(70.605,129.03),(71.175,128.705),(72.1,127.9),(72.544,127.312),(72.859,126.737),(73.175,125.807),(73.291,124.914),(73.294,115.394),(73.249,114.739),(72.956,113.632),(72.406,112.627),(71.694,111.837),(70.679,111.149),(69.681,110.781),(68.626,110.644),(34.999,110.643),(34.277,110.593),(33.395,110.391),(32.56,110.042),(31.798,109.553),(31.07,108.874),(30.531,108.148),(30.091,107.255),(29.844,106.384),(29.75,105.394),(29.751,96.445),(29.903,95.279),(30.351,94.096),(31.07,93.054),(31.519,92.606),(32.093,92.164),(33.223,91.595),(34.009,91.38),(34.909,91.286),(68.708,91.283),(69.36,91.215),(70.074,91.033),(70.752,90.742),(71.31,90.398),(72.1,89.686),(72.671,88.887),(73.091,87.91),(73.283,86.863),(73.288,77.433),(73.067,76.226),(72.588,75.186),(71.932,74.349),(71.037,73.635),(69.996,73.156),(68.872,72.94),(34.999,72.929),(34.009,72.834),(33.054,72.555),(31.944,71.947),(31.07,71.16),(30.351,70.118),(29.903,68.935),(29.751,67.769),(29.75,58.82),(29.844,57.831),(30.091,56.96),(30.484,56.144),(31.07,55.34),(31.798,54.661),(32.56,54.173),(33.395,53.823),(34.277,53.621),(34.999,53.571),(68.626,53.571),(69.601,53.452),(70.605,53.101),(71.175,52.777),(71.632,52.431),(72.358,51.653),(72.925,50.658),(73.237,49.556),(73.294,48.82),(73.291,39.8),(73.193,38.987),(72.925,38.128),(72.63,37.542),(72.258,37.003),(71.815,36.52),(71.31,36.102),(70.229,35.523),(69.601,35.333),(68.954,35.232),(34.909,35.214),(34.009,35.12),(33.054,34.84),(32.018,34.285),(31.07,33.446),(30.351,32.404),(29.903,31.221),(29.751,30.055),(29.75,21.106),(29.844,20.116),(30.091,19.245),(30.531,18.352),(31.07,17.626),(31.798,16.947),(32.56,16.458),(33.395,16.109),(34.277,15.907),(34.999,15.857),(68.626,15.856),(69.601,15.738),(70.605,15.387),(71.569,14.769),(72.358,13.939),(72.925,12.944),(73.237,11.842),(73.294,11.106),(73.291,2.086),(73.193,1.273),(72.925,0.413),(72.63,-0.172),(72.258,-0.712),(71.815,-1.195),(71.31,-1.612),(70.752,-1.956),(70.152,-2.22),(69.441,-2.415),(68.79,-2.494),(14.8,-2.5)])
P(mzi4_long_arm, DevRec, [(14.8,-3.5),(68.842,-3.492),(69.629,-3.397),(70.396,-3.194),(71.128,-2.887),(71.811,-2.482),(72.431,-1.988),(73.04,-1.335),(73.49,-0.682),(73.847,0.027),(74.15,0.97),(74.291,2.052),(74.294,11.11),(74.209,12.095),(74.048,12.77),(73.808,13.422),(73.161,14.535),(72.714,15.066),(72.206,15.54),(71.645,15.949),(71.039,16.288),(69.824,16.713),(68.643,16.856),(34.488,16.888),(33.771,17.039),(33.09,17.31),(32.466,17.695),(31.868,18.234),(31.382,18.877),(31.053,19.532),(30.826,20.305),(30.751,21.034),(30.75,29.961),(30.841,30.838),(31.171,31.808),(31.723,32.671),(32.526,33.42),(33.493,33.938),(34.198,34.138),(34.927,34.214),(69.139,34.245),(69.92,34.381),(70.676,34.624),(71.39,34.968),(72.051,35.408),(72.645,35.934),(73.161,36.537),(73.589,37.205),(73.921,37.925),(74.191,38.879),(74.291,39.766),(74.294,48.825),(74.209,49.809),(74.048,50.485),(73.808,51.136),(73.161,52.249),(72.714,52.781),(72.206,53.254),(71.645,53.664),(71.039,54.002),(69.824,54.427),(68.643,54.571),(34.488,54.602),(33.771,54.753),(33.025,55.058),(32.408,55.453),(31.868,55.949),(31.382,56.591),(31.053,57.246),(30.841,57.947),(30.753,58.675),(30.75,67.675),(30.841,68.553),(31.171,69.523),(31.723,70.385),(32.526,71.134),(33.493,71.652),(34.198,71.852),(35.003,71.929),(69.04,71.95),(69.727,72.051),(70.396,72.235),(71.039,72.498),(71.645,72.836),(72.206,73.246),(72.714,73.719),(73.161,74.251),(73.589,74.919),(74.048,76.015),(74.281,77.282),(74.294,86.539),(74.225,87.425),(74.076,88.104),(73.847,88.759),(73.54,89.382),(73.161,89.963),(72.714,90.495),(72.206,90.969),(71.128,91.672),(69.92,92.119),(68.643,92.285),(34.488,92.317),(33.771,92.467),(33.09,92.739),(32.466,93.123),(31.918,93.609),(31.461,94.182),(31.081,94.892),(30.857,95.59),(30.756,96.316),(30.75,105.39),(30.841,106.267),(31.203,107.303),(31.771,108.156),(32.586,108.891),(33.562,109.392),(34.27,109.58),(35.003,109.643),(68.743,109.646),(69.727,109.766),(70.676,110.052),(71.561,110.498),(72.282,111.024),(73.04,111.808),(73.589,112.633),(73.988,113.541),(74.239,114.601),(74.294,115.39),(74.281,125.147),(74.171,125.933),(73.955,126.696),(73.636,127.422),(73.219,128.098),(72.714,128.709),(72.129,129.246),(71.476,129.696),(70.768,130.053),(69.629,130.397),(68.547,130.5),(14.8,130.5),(14.8,129),(68.984,128.977),(69.703,128.839),(70.454,128.547),(71.078,128.162),(71.676,127.623),(72.123,127.042),(72.464,126.393),(72.688,125.696),(72.794,124.823),(72.794,115.319),(72.718,114.591),(72.405,113.615),(71.867,112.743),(71.136,112.025),(70.255,111.502),(69.49,111.249),(68.541,111.143),(34.997,111.143),(34.11,111.074),(33.054,110.804),(32.154,110.389),(31.338,109.826),(30.631,109.131),(30.054,108.325),(29.589,107.339),(29.335,106.38),(29.25,105.396),(29.251,96.436),(29.417,95.16),(29.66,94.404),(29.955,93.776),(30.696,92.723),(31.652,91.861),(32.24,91.491),(32.869,91.195),(33.915,90.889),(34.901,90.787),(68.837,90.776),(69.418,90.695),(69.982,90.535),(70.519,90.299),(71.018,89.991),(71.471,89.618),(71.867,89.186),(72.2,88.703),(72.464,88.179),(72.703,87.41),(72.794,86.609),(72.754,77.094),(72.464,76.035),(72,75.204),(71.307,74.449),(70.388,73.849),(69.49,73.535),(68.618,73.429),(34.997,73.429),(34.208,73.374),(33.148,73.122),(32.24,72.723),(31.415,72.174),(30.696,71.492),(30.105,70.696),(29.624,69.718),(29.353,68.764),(29.25,67.682),(29.251,58.722),(29.305,58.03),(29.442,57.349),(29.66,56.69),(29.955,56.062),(30.696,55.008),(31.187,54.517),(31.734,54.089),(32.328,53.73),(32.961,53.445),(33.915,53.175),(34.901,53.072),(68.764,53.066),(69.773,52.89),(70.648,52.514),(71.471,51.903),(72.123,51.114),(72.591,50.121),(72.784,49.115),(72.778,39.598),(72.591,38.665),(72.2,37.797),(71.626,37.038),(70.898,36.425),(70.388,36.135),(69.844,35.918),(69.274,35.777),(68.691,35.717),(34.901,35.713),(33.915,35.611),(32.961,35.341),(31.816,34.752),(31.262,34.333),(30.762,33.851),(30.325,33.312),(29.955,32.724),(29.66,32.096),(29.442,31.437),(29.305,30.756),(29.251,30.064),(29.25,21.104),(29.335,20.12),(29.589,19.161),(30.054,18.175),(30.631,17.369),(31.338,16.674),(32.154,16.111),(33.054,15.696),(34.11,15.426),(34.997,15.357),(68.618,15.356),(69.49,15.251),(70.388,14.936),(71.251,14.384),(72,13.581),(72.491,12.683),(72.754,11.692),(72.792,2.103),(72.688,1.304),(72.405,0.472),(71.821,-0.457),(71.417,-0.882),(70.958,-1.248),(69.982,-1.749),(69.418,-1.909),(68.837,-1.99),(14.8,-2)])
mzi4_long_arm.add(gdstk.FlexPath([(14.85,-2.75),(14.75,-2.75)], 0.5, ends="flush", simple_path=True, layer=1, datatype=10))  # PinRec
mzi4_long_arm.add(gdstk.FlexPath([(14.85,129.75),(14.75,129.75)], 0.5, ends="flush", simple_path=True, layer=1, datatype=10))  # PinRec
mzi4_long_arm.add(gdstk.Label('pin1', (14.8,-2.75), layer=1, texttype=10))
mzi4_long_arm.add(gdstk.Label('pin2', (14.8,129.75), layer=1, texttype=10))

mzi4 = lib.new_cell('MZI4')
mzi4.add(gdstk.Reference(ebeam_gc_te1550, (0,0)))
mzi4.add(gdstk.Reference(ebeam_gc_te1550, (0,127)))
mzi4.add(gdstk.Reference(ebeam_y_1550, (7.4,0)))
mzi4.add(gdstk.Reference(ebeam_y_1550, (7.4,127)))
mzi4.add(gdstk.Reference(mzi4_short_arm, (0,0)))
mzi4.add(gdstk.Reference(mzi4_long_arm, (0,0)))
mzi4.add(gdstk.Label('opt_in_TE_1550_device_johey5_MZI4a', (0,0), layer=10, texttype=0))
mzi4.add(gdstk.Label('opt_in_TE_1550_device_johey5_MZI4b', (0,127), layer=10, texttype=0))

lib.write_gds('MZI4.gds')
